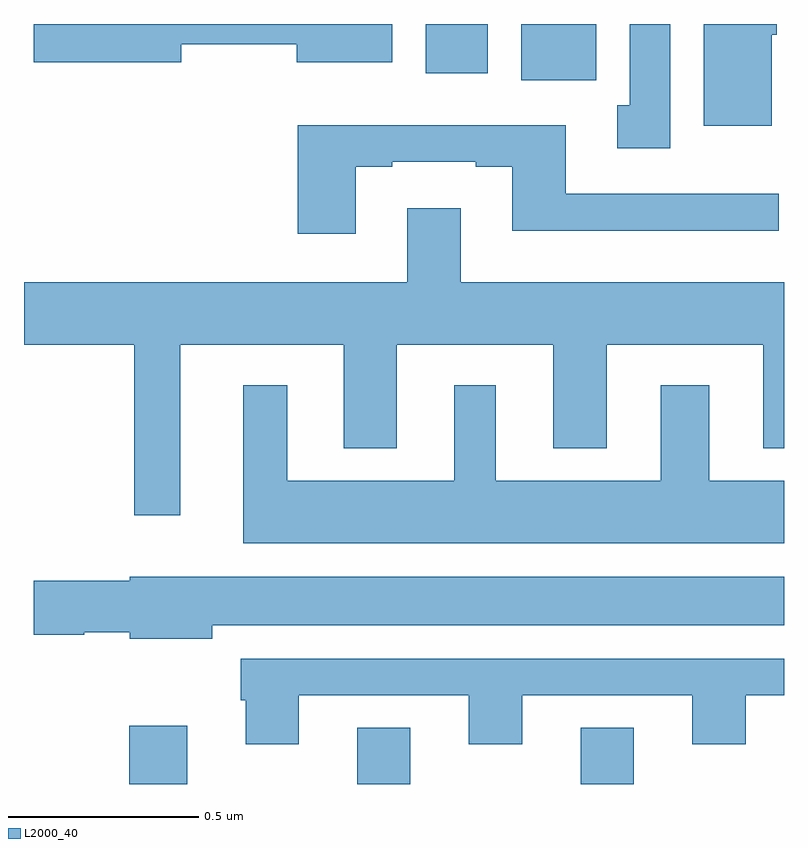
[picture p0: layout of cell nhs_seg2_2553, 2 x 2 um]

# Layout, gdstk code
import gdstk
lib = gdstk.Library(unit=1e-6, precision=1e-09)
def R(c, l, rs):  # rectangles x0, y0, x1, y1
    for r in rs: c.add(gdstk.rectangle(r[:2], r[2:], *l))
def P(c, l, *ps):  # polygons
    for p in ps: c.add(gdstk.Polygon(p, *l))
L2000_40 = (2000, 40)

nhs_seg2_2553 = lib.new_cell('nhs_seg2_2553')
R(nhs_seg2_2553, L2000_40, [(142.277,659.8,142.429,659.953), (142.877,659.8,143.017,659.948), (143.465,659.8,143.605,659.948), (143.309,661.652,143.506,661.8), (143.057,661.67,143.221,661.8)])
P(nhs_seg2_2553, L2000_40, [(143.701,661.8),(143.594,661.8),(143.594,661.586),(143.561,661.586),(143.561,661.473),(143.701,661.473)],
  [(142.414,661.747),(142.718,661.747),(142.718,661.7),(142.969,661.7),(142.969,661.8),(142.026,661.8),(142.026,661.7),(142.414,661.7)],
  [(143.968,661.772),(143.981,661.772),(143.981,661.8),(143.789,661.8),(143.789,661.532),(143.968,661.532)],
  [(142.873,661.425),(142.969,661.425),(142.969,661.437),(143.189,661.437),(143.189,661.425),(143.285,661.425),(143.285,661.256),(143.986,661.256),(143.986,661.353),(143.425,661.353),(143.425,661.534),(142.721,661.534),(142.721,661.248),(142.873,661.248)],
  [(142,660.956),(142.29,660.956),(142.29,660.507),(142.411,660.507),(142.411,660.956),(142.841,660.956),(142.841,660.683),(142.981,660.683),(142.981,660.956),(143.393,660.956),(143.393,660.683),(143.533,660.683),(143.533,660.956),(143.945,660.956),(143.945,660.683),(144,660.683),(144,661.12),(143.149,661.12),(143.149,661.315),(143.009,661.315),(143.009,661.12),(142,661.12)],
  [(144,660.598),(143.803,660.598),(143.803,660.85),(143.675,660.85),(143.675,660.598),(143.242,660.598),(143.242,660.85),(143.132,660.85),(143.132,660.598),(142.693,660.598),(142.693,660.85),(142.577,660.85),(142.577,660.434),(144,660.434)],
  [(142.495,660.218),(144,660.218),(144,660.346),(142.278,660.346),(142.278,660.335),(142.026,660.335),(142.026,660.193),(142.158,660.193),(142.158,660.2),(142.278,660.2),(142.278,660.182),(142.495,660.182)],
  [(142.723,660.033),(143.171,660.033),(143.171,659.904),(143.311,659.904),(143.311,660.033),(143.759,660.033),(143.759,659.904),(143.899,659.904),(143.899,660.033),(144,660.033),(144,660.129),(142.571,660.129),(142.571,660.021),(142.583,660.021),(142.583,659.904),(142.723,659.904)])

lib.write_gds('nhs_seg2_2553.gds')
